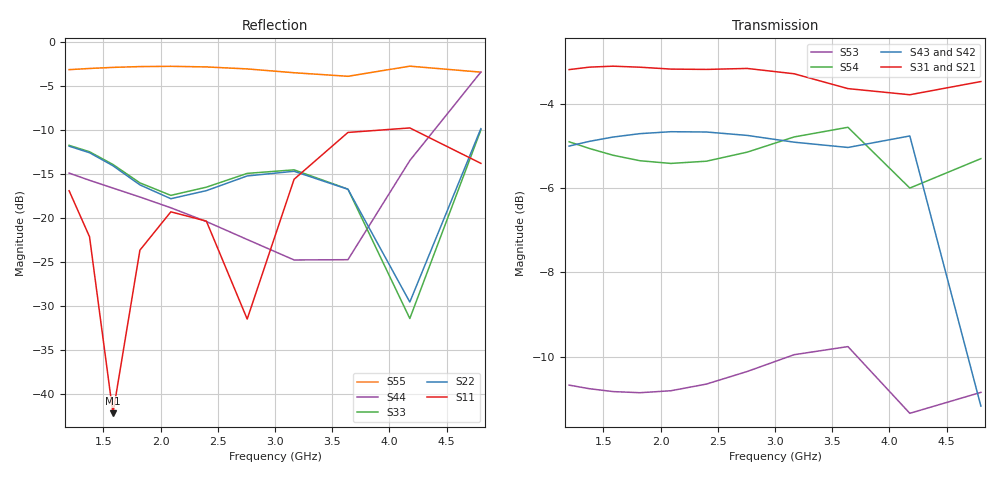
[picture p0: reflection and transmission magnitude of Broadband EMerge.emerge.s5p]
! Generated by circuitRF - EM: EMerge
! circuitRF-EM setup: Broadband EMerge
! circuitRF-EM layout: Broadband.c3d
! circuitRF-EM written: 2026-11-16 00:01:52Z
! circuitRF-EM stamp: 20261116T000152Z-e1d06004
! circuitRF-EM geometry: 429c503e6f59d5ef
! circuitRF-EM mesh settings: 052857159ca3006f
! circuitRF-EM ports: 08e6998db535ac73
! circuitRF-EM model: EMerge 3.0.0
! Port[1] = P1
! Port[2] = P2
! Port[3] = P3
! Port[4] = R1
! Port[5] = R2
! circuitRF-EM port 1: 'port/1' from 'U1/Bottom Copper (1 oz)/1' to 'U1/Top Copper (1 oz)/1', lumped, 50 Ohm
! circuitRF-EM port 2: 'port/2' from 'U1/Bottom Copper (1 oz)/1' to 'U1/Top Copper (1 oz)/1', lumped, 50 Ohm
! circuitRF-EM port 3: 'port/3' from 'U1/Bottom Copper (1 oz)/1' to 'U1/Top Copper (1 oz)/1', lumped, 50 Ohm
! circuitRF-EM port 4: 'port/4' from 'U1/Top Copper (1 oz)/1' to 'U1/Top Copper (1 oz)/1', lumped, 50 Ohm
! circuitRF-EM port 5: 'port/5' from 'U1/Top Copper (1 oz)/1' to 'U1/Top Copper (1 oz)/1', lumped, 50 Ohm
! Port 1 = P01  P1  net=?  ref=U1/Bottom Copper (1 oz)/1  uncalibrated
! Port 2 = P02  P2  net=?  ref=U1/Bottom Copper (1 oz)/1  uncalibrated
! Port 3 = P03  P3  net=?  ref=U1/Bottom Copper (1 oz)/1  uncalibrated
! Port 4 = P04  R1  net=?  ref=U1/Top Copper (1 oz)/1  uncalibrated
! Port 5 = P05  R2  net=?  ref=U1/Top Copper (1 oz)/1  uncalibrated
! DC: none, the lowest row is 1.2 GHz; a circuit's DC solve through this file takes that row as DC
! circuitRF-EM 3D mesh: 14261 tetrahedra, element order 2
! circuitRF-EM 3D operating temperature: 20 C
! circuitRF-EM 3D run: preset Draft; 14261 tetrahedra; 103218 unknowns; adaptive sweep, 13 frequency sample(s), estimated error 3.95E-05
! circuitRF-EM 3D run cost: wall 38 s; EMerge peak memory 2.1 GB
! circuitRF-EM: re-running the EM setup rewrites this file. If circuitRF reports it as stale, the layout's cross-section changed after this file was written.
# GHz S RI R 50
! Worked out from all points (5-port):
!   11 points, 1.2 GHz to 4.8 GHz, reference 50 ohm
!   strongest paths, dB at 1.2 GHz, 1.583 GHz, 2.4 GHz, 3.638 GHz, 4.8 GHz:
!     S31: -3.2, -3.1, -3.2, -3.6, -3.5
!     S21: -3.2, -3.1, -3.2, -3.6, -3.5
!     S43: -5.0, -4.8, -4.7, -5.0, -11.2
!     S42: -5.0, -4.7, -4.6, -5.0, -11.3
!     S54: -4.9, -5.2, -5.4, -4.6, -5.3
!     S53: -10.7, -10.8, -10.7, -9.8, -10.8
!   lowest |S11| = -42.2 dB at 1.583 GHz (marker M1), VSWR 1.02, Z = 50.8 - j0.0481 ohm
!   |S11| at or under -10 dB: start of sweep to 3.909 GHz; 4.218 GHz to end of sweep
